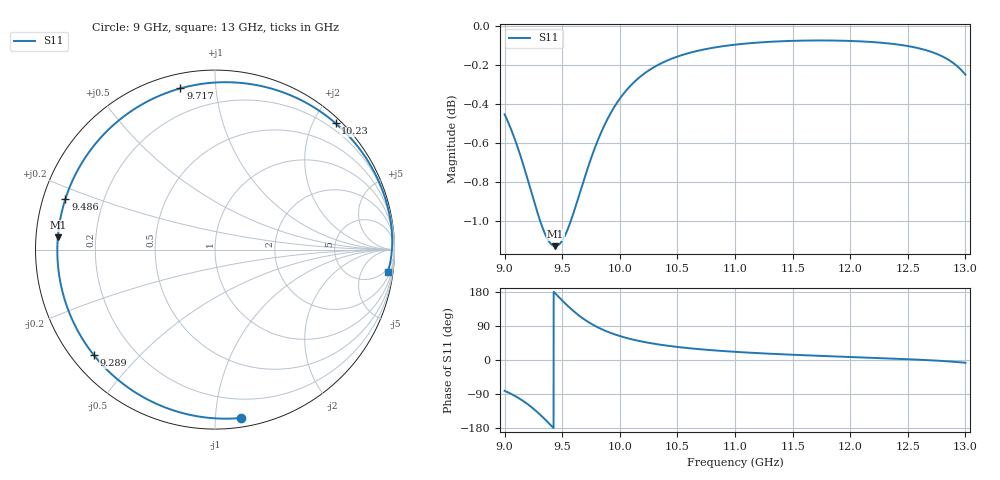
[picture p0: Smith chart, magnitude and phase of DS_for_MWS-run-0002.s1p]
! TOUCHSTONE file generated by CST DESIGN STUDIO
! Date and time: Wed Feb  5 13:45:06 2025
! Project name: C:\Work\MatlabApps\UnitCellOptimizationMatlab\CST\unitcell.cst
! Tree item: Tasks\Sweep1\SPara1\S-Parameters
! Header version: 2024
! Port assignment regex: !\s*Touchstone port\s*([0-9]+)\s*=\s*(CST MWS port|CST DES external port|CST DES block port)\s*(.+)\s* \(\"(.*)\"\)(\s*mode\s*([0-9]+))?.*
! Touchstone port assignment:
! Touchstone port 1 = CST DES external port 1 ("")
# GHz S MA R 50
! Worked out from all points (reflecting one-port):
!   4001 points, 9 GHz to 13 GHz, reference 50 ohm
!   lowest |S11| = -1.1 dB at 9.44 GHz (marker M1), VSWR 15.45, Z = 3.24 + j1.92 ohm
!   phase of S11 starts at -81 deg and turns -286 deg over the sweep
!   S11 on the Smith chart (normalised r, x): 9 GHz: 0.06, -1.16; 9.289 GHz: 0.06, -0.37; 9.486 GHz: 0.07, +0.16; 9.717 GHz: 0.07, +0.81; 10.23 GHz: 0.09, +2.33; 13 GHz: 3, -15
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9  0.9492 -81.3
9.088  0.9355 -94.5
9.16  0.9219 -107.9
9.226  0.9081 -122.6
9.289  0.8952 -138.9
9.369  0.8825 -162.2
9.405  0.8794 -173.4
9.44  0.8784 175.6
9.486  0.8801 161.2
9.5  0.8813 156.9
9.555  0.8883 140.8
9.607  0.8974 126.8
9.66  0.9077 114.1
9.717  0.9188 102.1
9.781  0.9302 90.6
9.855  0.9415 79.6
9.925  0.9503 70.9
10  0.9579 63.2
10.109  0.9664 54.2
10.232  0.9731 46.4
10.5  0.982 34.4
10.723  0.986 27.7
11  0.9889 21.6
11.5  0.9911 13.8
12  0.991 7.9
12.5  0.9881 2.1
12.782  0.9826 -2.2
13  0.9715 -7.3
